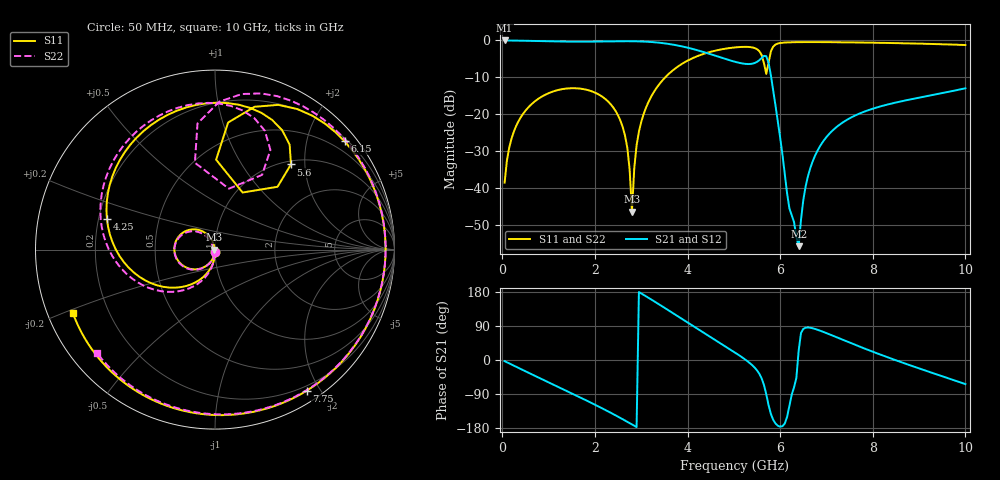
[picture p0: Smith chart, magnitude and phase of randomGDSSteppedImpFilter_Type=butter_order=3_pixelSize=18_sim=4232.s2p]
! freq	dB(S11)	phase(S11)	dB(S12)	phase(S12)
!  dB(S21)	phase(S21)	dB(S22)	phase(S22)
!S-par simulation data
#  GHz  S  DB  R 50
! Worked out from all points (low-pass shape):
!   200 points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, 50 MHz to 10 GHz, reference 50 ohm
!   highest |S21| = 0.00 dB at 50 MHz (marker M1); lowest = -55.6 dB at 6.4 GHz (marker M2)
!   |S21| within 3 dB of the highest: start of sweep to 4.312 GHz
!   lowest |S11| = -46.2 dB at 2.8 GHz (marker M3), VSWR 1.01, Z = 49.5 - j0.0795 ohm
!   |S11| at or under -10 dB: start of sweep to 3.517 GHz
!   |S22| runs from -41.3 to -0.4 dB; largest |S21 - S12| = 0
!   S11 on the Smith chart (normalised r, x): 50 MHz: 1.00, -0.02; 4.25 GHz: 0.23, +0.13; 5.6 GHz: 1.07, +1.70; 6.15 GHz: 0.26, +2.73; 7.75 GHz: 0.14, -1.83; 10 GHz: 0.07, -0.21
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0.05  -38.42 -93.2  -0.00 -3.0  -0.00 -3.0  -38.42 -93.2
0.2  -26.48 -102.9  -0.03 -12.0  -0.03 -12.0  -26.48 -102.5
0.5  -18.99 -121.1  -0.09 -29.8  -0.09 -29.8  -18.99 -120.3
1.75  -13.14 164.9  -0.33 -102.9  -0.33 -102.9  -13.15 168.3
2.55  -21.64 114.5  -0.22 -152.9  -0.22 -152.9  -21.65 122.5
2.7  -29.04 105.0  -0.21 -163.1  -0.21 -163.1  -28.95 119.1
2.8  -46.24 -170.5  -0.22 -170.0  -0.22 -170.0  -41.34 -166.2
2.85  -34.47 -90.0  -0.23 -173.5  -0.23 -173.5  -33.73 -103.9
2.95  -24.67 -95.2  -0.26 179.3  -0.26 179.3  -24.55 -96.5
3.4  -11.67 -128.7  -0.63 145.7  -0.63 145.7  -11.65 -124.0
4.25  -4.06 164.1  -2.78 79.4  -2.78 79.4  -4.06 172.4
5.05  -1.85 101.4  -5.85 17.6  -5.85 17.6  -1.84 112.7
5.6  -3.93 48.3  -4.74 -48.4  -4.74 -48.4  -3.94 60.9
5.75  -6.01 89.3  -6.04 -119.1  -6.04 -119.1  -6.08 103.0
5.9  -1.11 66.4  -17.63 -167.6  -17.63 -167.6  -1.12 80.2
6.15  -0.53 39.9  -41.34 -150.2  -41.34 -150.2  -0.53 54.1
6.4  -0.45 21.0  -55.60 24.9  -55.60 24.9  -0.45 35.5
6.5  -0.45 14.2  -43.12 82.1  -43.12 82.1  -0.44 28.7
6.7  -0.44 1.2  -32.75 83.8  -32.75 83.8  -0.43 15.9
7.75  -0.56 -57.0  -19.57 33.7  -19.57 33.7  -0.53 -42.5
8.35  -0.68 -85.3  -17.22 5.9  -17.22 5.9  -0.64 -70.8
10  -1.24 -156.1  -12.93 -63.6  -12.93 -63.6  -1.17 -138.7
